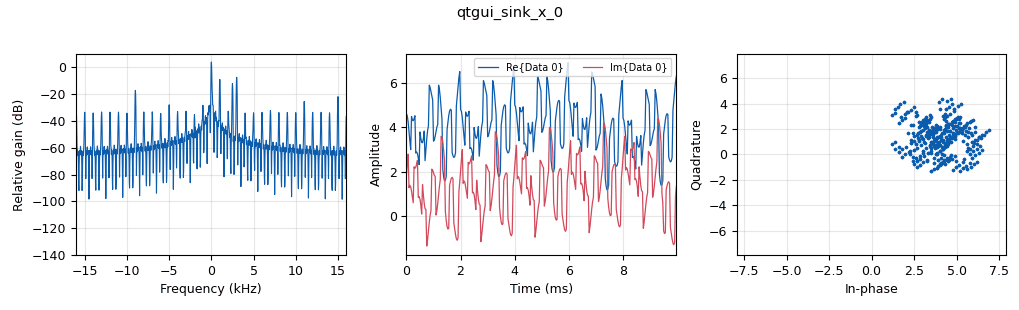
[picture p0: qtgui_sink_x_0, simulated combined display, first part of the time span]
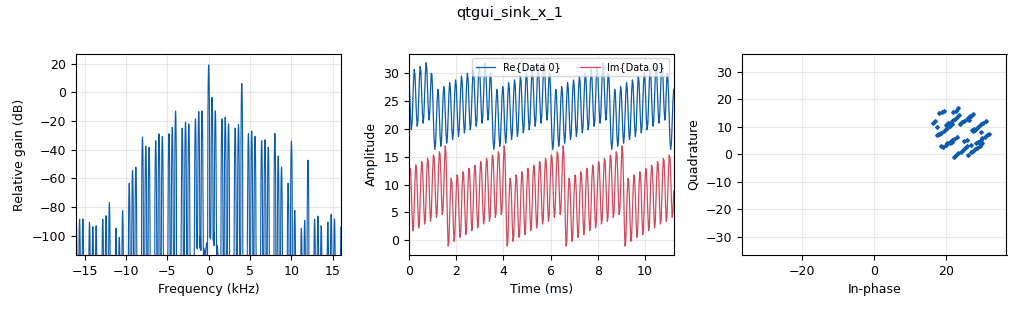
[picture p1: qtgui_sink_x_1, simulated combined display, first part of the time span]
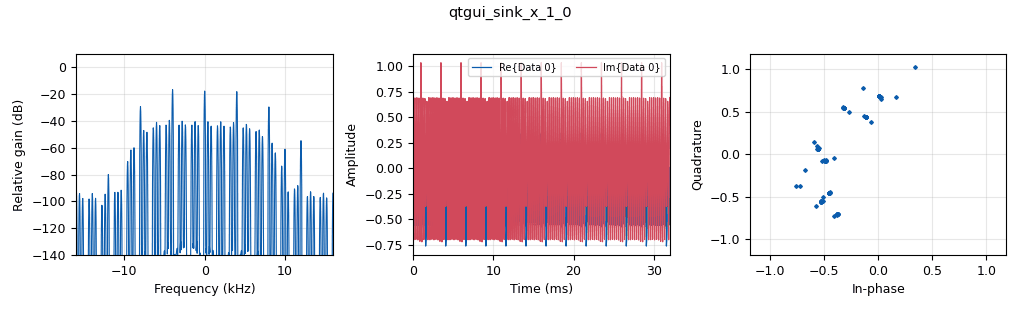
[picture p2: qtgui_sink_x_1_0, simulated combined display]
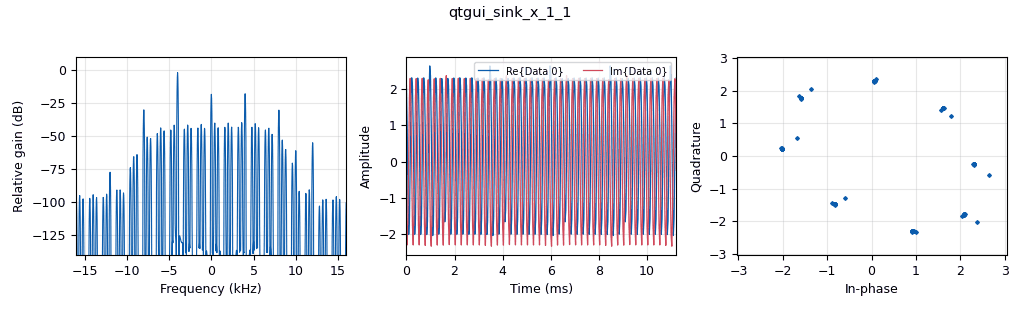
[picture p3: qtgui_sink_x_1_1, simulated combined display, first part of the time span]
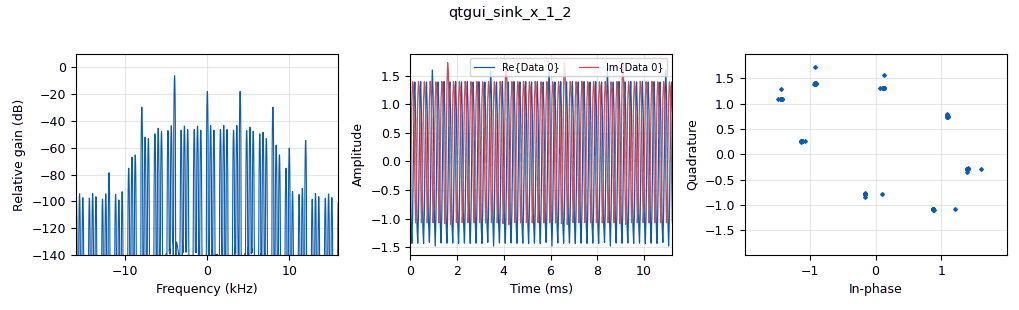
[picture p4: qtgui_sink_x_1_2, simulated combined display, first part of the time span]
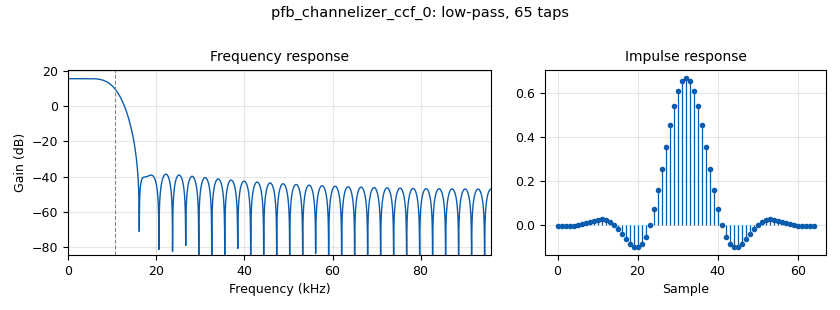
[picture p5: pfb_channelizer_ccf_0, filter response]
options:
  parameters:
    author: vivelpanel
    generate_options: qt_gui
    id: pfb_test
    output_language: python
    title: Not titled yet
  states: {}

blocks:
- name: samp_rate
  id: variable
  parameters:
    value: '32000'
  states: {}
- name: analog_sig_source_x_0
  id: analog_sig_source_x
  parameters:
    amp: '1'
    freq: '1000'
    offset: '0'
    phase: '0'
    samp_rate: samp_rate
    type: complex
    waveform: analog.GR_COS_WAVE
  states: {}
- name: analog_sig_source_x_0_0
  id: analog_sig_source_x
  parameters:
    amp: '1.8'
    freq: '3000'
    offset: '0'
    phase: '0'
    samp_rate: samp_rate
    type: complex
    waveform: analog.GR_SQR_WAVE
  states: {}
- name: analog_sig_source_x_0_1
  id: analog_sig_source_x
  parameters:
    amp: '1'
    freq: '100'
    offset: '3.14'
    phase: '0'
    samp_rate: samp_rate
    type: complex
    waveform: analog.GR_SAW_WAVE
  states: {}
- name: analog_sig_source_x_0_2
  id: analog_sig_source_x
  parameters:
    amp: '.66667'
    freq: '2500'
    offset: '-.5'
    phase: '0'
    samp_rate: samp_rate
    type: complex
    waveform: analog.GR_SIN_WAVE
  states: {}
- name: blocks_add_xx_0
  id: blocks_add_xx
  parameters:
    num_inputs: '4'
    type: complex
  states: {}
- name: pfb_channelizer_ccf_0
  id: pfb_channelizer_ccf
  parameters:
    atten: '1'
    bus_conns: '[[0,],]'
    ch_map: '[]'
    nchans: '4'
    osr: '1.0'
    taps: firdes.low_pass_2(6, 6*samp_rate, samp_rate/3.0, samp_rate/4.0, 60)
  states: {}
- name: qtgui_sink_x_0
  id: qtgui_sink_x
  parameters:
    bw: samp_rate
    fc: '0'
    fftsize: '1024'
    type: complex
  states: {}
- name: qtgui_sink_x_1
  id: qtgui_sink_x
  parameters:
    bw: samp_rate
    fc: '0'
    fftsize: '1024'
    type: complex
  states: {}
- name: qtgui_sink_x_1_0
  id: qtgui_sink_x
  parameters:
    bw: samp_rate
    fc: '0'
    fftsize: '1024'
    type: complex
  states: {}
- name: qtgui_sink_x_1_1
  id: qtgui_sink_x
  parameters:
    bw: samp_rate
    fc: '0'
    fftsize: '1024'
    type: complex
  states: {}
- name: qtgui_sink_x_1_2
  id: qtgui_sink_x
  parameters:
    bw: samp_rate
    fc: '0'
    fftsize: '1024'
    type: complex
  states: {}

connections:
- [analog_sig_source_x_0, '0', blocks_add_xx_0, '0']
- [analog_sig_source_x_0_0, '0', blocks_add_xx_0, '1']
- [analog_sig_source_x_0_1, '0', blocks_add_xx_0, '2']
- [analog_sig_source_x_0_2, '0', blocks_add_xx_0, '3']
- [blocks_add_xx_0, '0', pfb_channelizer_ccf_0, '0']
- [blocks_add_xx_0, '0', qtgui_sink_x_0, '0']
- [pfb_channelizer_ccf_0, '0', qtgui_sink_x_1, '0']
- [pfb_channelizer_ccf_0, '1', qtgui_sink_x_1_0, '0']
- [pfb_channelizer_ccf_0, '2', qtgui_sink_x_1_2, '0']
- [pfb_channelizer_ccf_0, '3', qtgui_sink_x_1_1, '0']

metadata:
  file_format: 1
